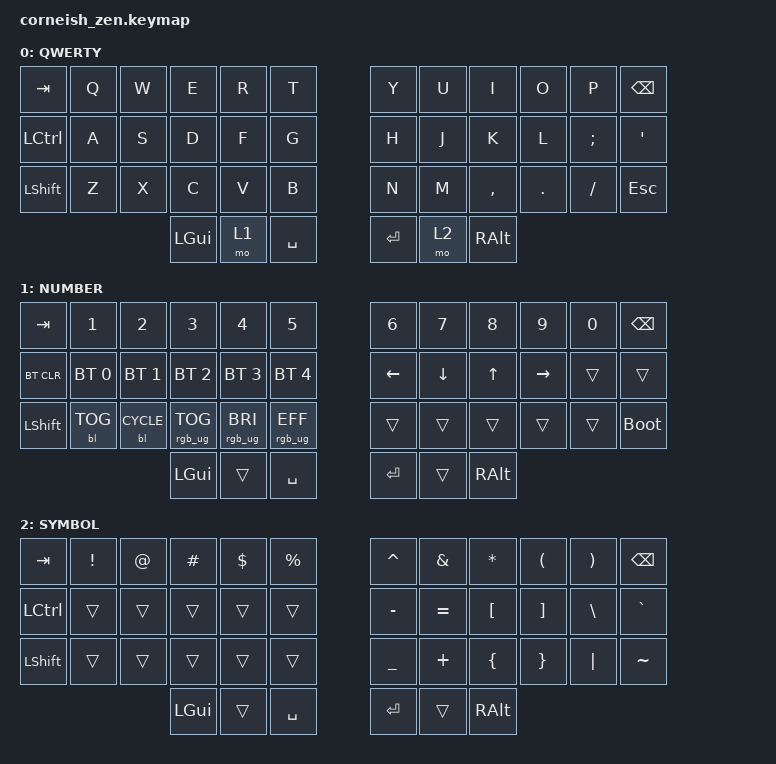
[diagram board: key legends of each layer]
/*
*
* Copyright (c) 2021 Darryl deHaan
* SPDX-License-Identifier: MIT
*
*/

#include <behaviors.dtsi>
#include <dt-bindings/zmk/backlight.h>
#include <dt-bindings/zmk/bt.h>
#include <dt-bindings/zmk/keys.h>
#include <dt-bindings/zmk/rgb.h>

/ {
    chosen {
        zmk,physical-layout = &foostan_corne_6col_layout;

        // zmk,physical-layout = &foostan_corne_5col_layout;
    };
};

/ {
    keymap {
        compatible = "zmk,keymap";

        default_layer {
            display-name = "QWERTY";

            // --------------------------------------------------------------------------------
            // |  TAB |  Q  |  W  |  E  |  R  |  T  |   |  Y  |  U   |  I  |  O  |  P  | BSPC |
            // | CTRL |  A  |  S  |  D  |  F  |  G  |   |  H  |  J   |  K  |  L  |  ;  |  '   |
            // | SHFT |  Z  |  X  |  C  |  V  |  B  |   |  N  |  M   |  ,  |  .  |  /  | ESC  |
            //                    | GUI | LWR | SPC |   | ENT | RSE  | ALT |

            bindings = <
&kp TAB    &kp Q  &kp W  &kp E     &kp R  &kp T        &kp Y    &kp U  &kp I      &kp O    &kp P     &kp BSPC
&kp LCTRL  &kp A  &kp S  &kp D     &kp F  &kp G        &kp H    &kp J  &kp K      &kp L    &kp SEMI  &kp SQT
&kp LSHFT  &kp Z  &kp X  &kp C     &kp V  &kp B        &kp N    &kp M  &kp COMMA  &kp DOT  &kp FSLH  &kp ESC
                         &kp LGUI  &mo 1  &kp SPACE    &kp RET  &mo 2  &kp RALT
            >;
        };

        lower_layer {
            display-name = "NUMBER";

            // -----------------------------------------------------------------------------------------
            // |  TAB |  1  |  2  |  3  |  4  |  5  |   |  6  |  7  |  8  |  9  |  0  | BSPC |
            // | BTCLR| BT1 | BT2 | BT3 | BT4 | BT5 |   | LFT | DWN |  UP | RGT |     |      |
            // | SHFT |     |     |     |     |     |   |     |     |     |     |     |      |
            //                    | GUI |     | SPC |   | ENT |     | ALT |

            bindings = <
&kp TAB     &kp N1        &kp N2        &kp N3           &kp N4           &kp N5             &kp N6    &kp N7    &kp N8    &kp N9     &kp N0  &kp BSPC
&bt BT_CLR  &bt BT_SEL 0  &bt BT_SEL 1  &bt BT_SEL 2     &bt BT_SEL 3     &bt BT_SEL 4       &kp LEFT  &kp DOWN  &kp UP    &kp RIGHT  &trans  &trans
&kp LSHFT   &bl BL_TOG    &bl BL_CYCLE  &rgb_ug RGB_TOG  &rgb_ug RGB_BRI  &rgb_ug RGB_EFF    &trans    &trans    &trans    &trans     &trans  &bootloader
                                        &kp LGUI         &trans           &kp SPACE          &kp RET   &trans    &kp RALT
            >;
        };

        raise_layer {
            display-name = "SYMBOL";

            // -----------------------------------------------------------------------------------------
            // |  TAB |  !  |  @  |  #  |  $  |  %  |   |  ^  |  &  |  *  |  (  |  )  | BSPC |
            // | CTRL |     |     |     |     |     |   |  -  |  =  |  [  |  ]  |  \  |  `   |
            // | SHFT |     |     |     |     |     |   |  _  |  +  |  {  |  }  | "|" |  ~   |
            //                    | GUI |     | SPC |   | ENT |     | ALT |

            bindings = <
&kp TAB    &kp EXCL  &kp AT  &kp HASH  &kp DLLR  &kp PRCNT    &kp CARET  &kp AMPS   &kp ASTRK  &kp LPAR  &kp RPAR  &kp BSPC
&kp LCTRL  &trans    &trans  &trans    &trans    &trans       &kp MINUS  &kp EQUAL  &kp LBKT   &kp RBKT  &kp BSLH  &kp GRAVE
&kp LSHFT  &trans    &trans  &trans    &trans    &trans       &kp UNDER  &kp PLUS   &kp LBRC   &kp RBRC  &kp PIPE  &kp TILDE
                             &kp LGUI  &trans    &kp SPACE    &kp RET    &trans     &kp RALT
            >;
        };
    };
};
